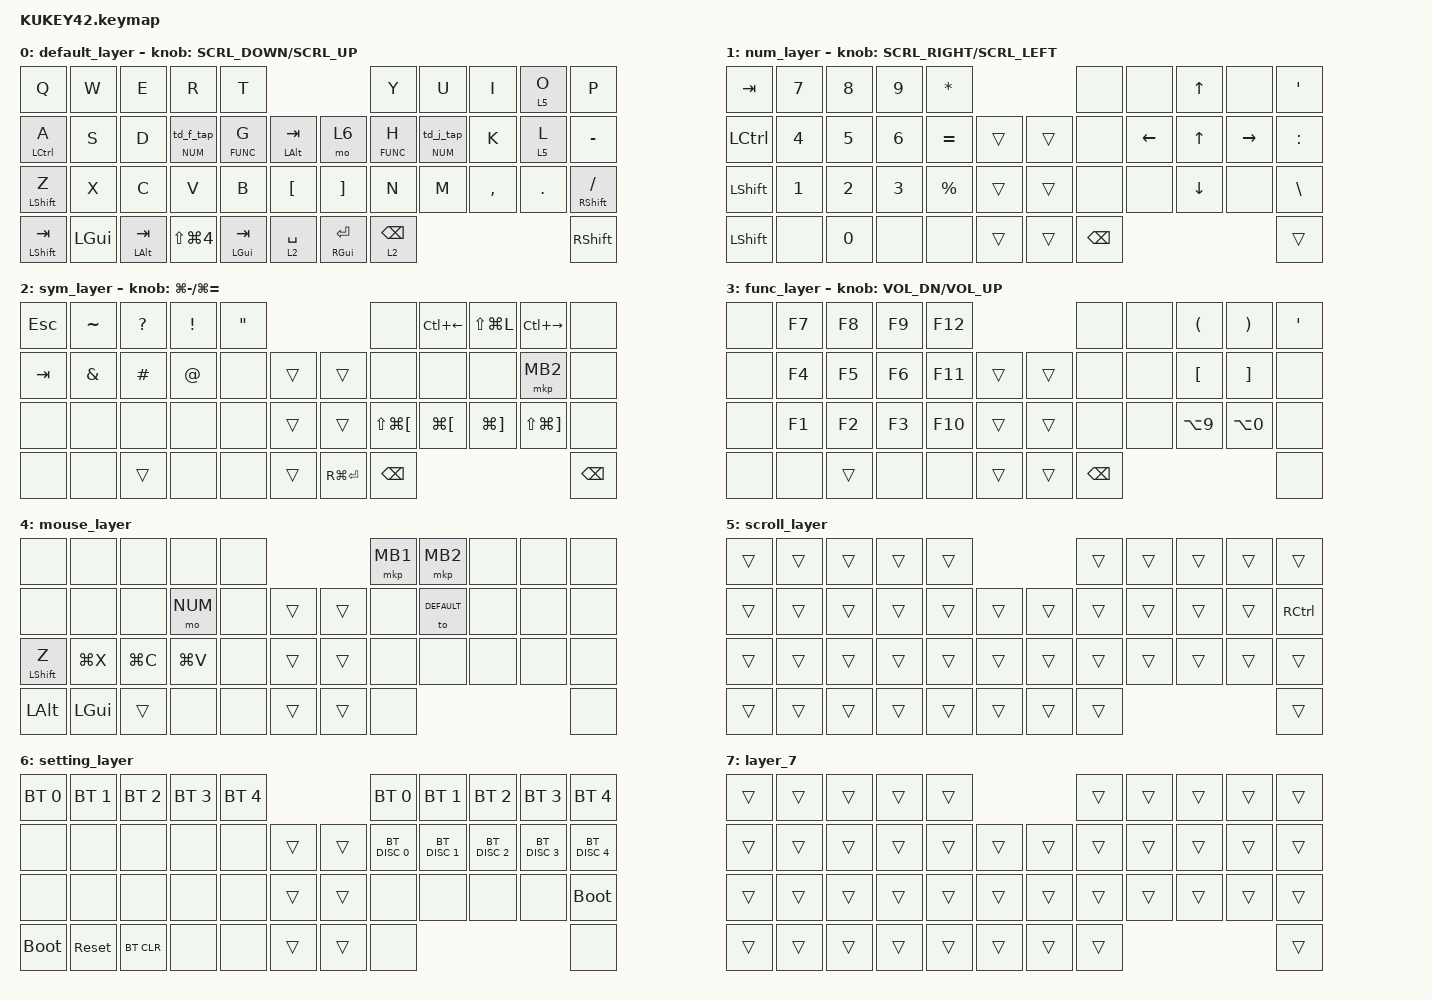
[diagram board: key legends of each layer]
#define ZMK_POINTING_DEFAULT_SCRL_VAL 80

#include <behaviors.dtsi>
#include <dt-bindings/zmk/bt.h>
#include <dt-bindings/zmk/keys.h>
#include <dt-bindings/zmk/pointing.h>

// Layer definitions

#define DEFAULT 0
#define NUM     1
#define SYM     2
#define FUNC    3
#define MOUSE   4
#define SCROLL  5
#define SETTING 6

&mt {
    flavor = "tap-preferred";
    quick-tap-ms = <180>;
};

&lt { quick-tap-ms = <195>; };

/ {
    combos {
        compatible = "zmk,combos";

        // Y + U = Mouse Button 1 (Left Click)

        combo_btn1 {
            timeout-ms = <50>;
            key-positions = <18 19>;  // Y and U positions
            bindings = <&mkp MB1>;
        };

        // U + I = Mouse Button 2 (Right Click)

        combo_btn2 {
            timeout-ms = <50>;
            key-positions = <19 20>;  // U and I positions
            bindings = <&mkp MB2>;
        };
    };

    macros {
        to_layer_0: to_layer_0 {
            compatible = "zmk,behavior-macro-one-param";
            #binding-cells = <1>;
            bindings = <&to 0 &macro_param_1to1 &kp MACRO_PLACEHOLDER>;
            label = "TO_LAYER_0";
        };
    };

    behaviors {
        lt_to_layer_0: lt_to_layer_0 {
            compatible = "zmk,behavior-hold-tap";
            label = "LAYER_TAP_TO_0";
            bindings = <&mo>, <&to_layer_0>;

            #binding-cells = <2>;
            tapping-term-ms = <200>;
        };

        // TD(0): Tap=F, Hold=MO(1), Double-tap=LANG2

        td_f_tap: td_f_tap {
            compatible = "zmk,behavior-tap-dance";
            label = "TAP_DANCE_F_TAP";
            #binding-cells = <0>;
            bindings = <&kp F>, <&kp LANGUAGE_2>;

            tapping-term-ms = <200>;
        };

        td_f: td_f {
            compatible = "zmk,behavior-hold-tap";
            label = "TAP_DANCE_F";
            #binding-cells = <2>;
            bindings = <&mo>, <&td_f_tap>;

            flavor = "tap-preferred";
            tapping-term-ms = <200>;
            quick-tap-ms = <160>;
        };

        // TD(1): Tap=J, Hold=MO(1), Double-tap=LANG1

        td_j_tap: td_j_tap {
            compatible = "zmk,behavior-tap-dance";
            label = "TAP_DANCE_J_TAP";
            #binding-cells = <0>;
            bindings = <&kp J>, <&kp LANGUAGE_1>;

            tapping-term-ms = <200>;
        };

        td_j: td_j {
            compatible = "zmk,behavior-hold-tap";
            label = "TAP_DANCE_J";
            #binding-cells = <2>;
            bindings = <&mo>, <&td_j_tap>;

            flavor = "tap-preferred";
            tapping-term-ms = <200>;
            quick-tap-ms = <160>;
        };

        // TD(2): Tap=Backspace, Hold=MO(2)

        td_bspc: td_bspc {
            compatible = "zmk,behavior-tap-dance";
            label = "TAP_DANCE_BSPC";
            #binding-cells = <0>;
            bindings = <&lt SYM BSPC>, <&kp BSPC>;

            tapping-term-ms = <140>;
        };

        WheelScroll: WheelScroll {
            compatible = "zmk,behavior-sensor-rotate-var";
            label = "WHEELSCROLL";
            #sensor-binding-cells = <2>;
            bindings = <&msc>, <&msc>;

            tap-ms = <20>;
        };

        mt_hp: mt_hp {
            compatible = "zmk,behavior-hold-tap";
            label = "Mod/Tap_Hold-preferred";
            bindings = <&kp>, <&kp>;

            #binding-cells = <2>;
            tapping-term-ms = <200>;
            quick-tap-ms = <180>;
        };
    };

    keymap {
        compatible = "zmk,keymap";

        // Layer 0: Default (QWERTY)

        default_layer {
            bindings = <
&kp Q                  &kp W     &kp E             &kp R                 &kp T                                                          &kp Y            &kp U        &kp I      &lt 5 O  &kp P
&mt LCTRL A            &kp S     &kp D             &td_f NUM 0           &lt FUNC G       &mt_hp LEFT_ALT TAB      &mo 6                &lt FUNC H       &td_j NUM 0  &kp K      &lt 5 L  &kp MINUS
&mt LSHFT Z            &kp X     &kp C             &kp V                 &kp B            &kp LEFT_BRACKET         &kp RIGHT_BRACKET    &kp N            &kp M        &kp COMMA  &kp DOT  &mt RSHIFT SLASH
&mt_hp LEFT_SHIFT TAB  &kp LGUI  &mt LEFT_ALT TAB  &kp LS(LG(NUMBER_4))  &mt_hp LGUI TAB  &lt 2 SPACE              &mt RIGHT_GUI ENTER  &lt 2 BACKSPACE                                   &kp RIGHT_SHIFT
            >;

            sensor-bindings = <&WheelScroll SCRL_DOWN SCRL_UP>;
        };

        // Layer 1: Numbers + Arrows

        num_layer {
            bindings = <
&kp TAB    &kp N7  &kp N8  &kp N9  &kp ASTRK                      &none          &none     &kp UP    &none      &kp SQT
&kp LCTRL  &kp N4  &kp N5  &kp N6  &kp EQUAL  &trans      &trans  &none          &kp LEFT  &kp UP    &kp RIGHT  &kp COLON
&kp LSHFT  &kp N1  &kp N2  &kp N3  &kp PRCNT  &trans      &trans  &none          &none     &kp DOWN  &none      &kp BSLH
&kp LSHFT  &none   &kp N0  &none   &none      &trans      &trans  &kp BACKSPACE                                 &trans
            >;

            sensor-bindings = <&WheelScroll SCRL_RIGHT SCRL_LEFT>;
        };

        // Layer 2: Symbols

        sym_layer {
            bindings = <
&kp ESC  &kp TILDE  &kp QMARK  &kp EXCL  &kp DQT                             &none             &kp LC(LEFT)  &kp LS(LG(L))  &kp LC(RIGHT)     &none
&kp TAB  &kp AMPS   &kp HASH   &kp AT    &none    &trans      &trans         &none             &none         &none          &mkp MB2          &none
&none    &none      &none      &none     &none    &trans      &trans         &kp LS(LG(LBKT))  &kp LG(LBKT)  &kp LG(RBKT)   &kp LS(LG(RBKT))  &none
&none    &none      &trans     &none     &none    &trans      &kp RG(ENTER)  &kp BACKSPACE                                                    &kp BSPC
            >;

            sensor-bindings = <&inc_dec_kp LG(MINUS) LG(EQUAL)>;
        };

        // Layer 3: Function keys + Brackets

        func_layer {
            bindings = <
&none  &kp F7  &kp F8  &kp F9  &kp F12                      &none          &none  &kp LPAR    &kp RPAR    &kp SQT
&none  &kp F4  &kp F5  &kp F6  &kp F11  &trans      &trans  &none          &none  &kp LBKT    &kp RBKT    &none
&none  &kp F1  &kp F2  &kp F3  &kp F10  &trans      &trans  &none          &none  &kp LA(N9)  &kp LA(N0)  &none
&none  &none   &trans  &none   &none    &trans      &trans  &kp BACKSPACE                                 &none
            >;

            sensor-bindings = <&inc_dec_kp C_VOL_DN C_VOL_UP>;
        };

        // Layer 4: Mouse

        mouse_layer {
            bindings = <
&none        &none      &none      &none      &none                      &mkp MB1  &mkp MB2     &none  &none  &none
&none        &none      &none      &mo NUM    &none  &trans      &trans  &none     &to DEFAULT  &none  &none  &none
&mt LSHFT Z  &kp LG(X)  &kp LG(C)  &kp LG(V)  &none  &trans      &trans  &none     &none        &none  &none  &none
&kp LALT     &kp LGUI   &trans     &none      &none  &trans      &trans  &none                                &none
            >;
        };

        // Layer 5: Scroll (for trackball scroll mode)

        scroll_layer {
            bindings = <
&trans  &trans  &trans  &trans  &trans                      &trans  &trans  &trans  &trans  &trans
&trans  &trans  &trans  &trans  &trans  &trans      &trans  &trans  &trans  &trans  &trans  &kp RCTRL
&trans  &trans  &trans  &trans  &trans  &trans      &trans  &trans  &trans  &trans  &trans  &trans
&trans  &trans  &trans  &trans  &trans  &trans      &trans  &trans                          &trans
            >;
        };

        // Layer 6: Settings (BT controls)

        setting_layer {
            bindings = <
&bt BT_SEL 0  &bt BT_SEL 1  &bt BT_SEL 2  &bt BT_SEL 3  &bt BT_SEL 4                      &bt BT_SEL 0   &bt BT_SEL 1   &bt BT_SEL 2   &bt BT_SEL 3   &bt BT_SEL 4
&none         &none         &none         &none         &none         &trans      &trans  &bt BT_DISC 0  &bt BT_DISC 1  &bt BT_DISC 2  &bt BT_DISC 3  &bt BT_DISC 4
&none         &none         &none         &none         &none         &trans      &trans  &none          &none          &none          &none          &bootloader
&bootloader   &sys_reset    &bt BT_CLR    &none         &none         &trans      &trans  &none                                                       &none
            >;
        };

        // Layer 7: Empty (reserved)

        layer_7 {
            bindings = <
&trans  &trans  &trans  &trans  &trans                      &trans  &trans  &trans  &trans  &trans
&trans  &trans  &trans  &trans  &trans  &trans      &trans  &trans  &trans  &trans  &trans  &trans
&trans  &trans  &trans  &trans  &trans  &trans      &trans  &trans  &trans  &trans  &trans  &trans
&trans  &trans  &trans  &trans  &trans  &trans      &trans  &trans                          &trans
            >;
        };
    };
};
